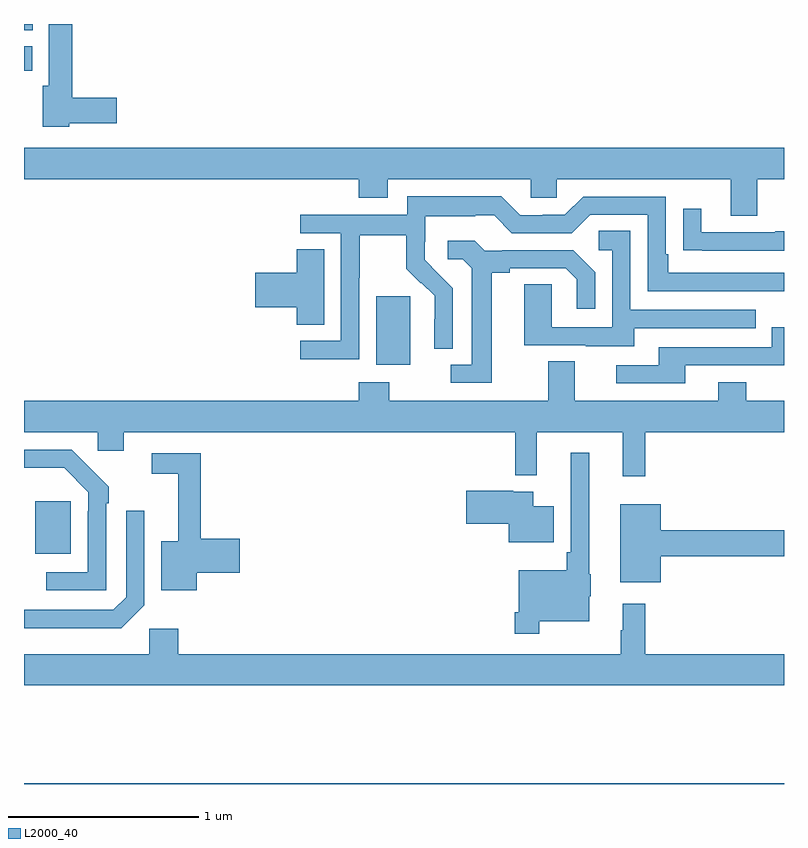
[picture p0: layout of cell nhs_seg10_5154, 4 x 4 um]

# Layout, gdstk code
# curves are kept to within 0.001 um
import gdstk
lib = gdstk.Library(unit=1e-6, precision=1e-09)
def R(c, l, rs):  # rectangles x0, y0, x1, y1
    for r in rs: c.add(gdstk.rectangle(r[:2], r[2:], *l))
def P(c, l, *ps):  # polygons
    for p in ps: c.add(gdstk.Polygon(p, *l))
L2000_40 = (2000, 40)

nhs_seg10_5154 = lib.new_cell('nhs_seg10_5154')
R(nhs_seg10_5154, L2000_40, [(411,1262.5,415,1262.504), (411.059,1263.713,411.247,1263.988), (412.853,1264.706,413.032,1265.067), (411,1266.254,411.043,1266.382), (411,1266.468,411.046,1266.5)])
P(nhs_seg10_5154, L2000_40, [(411.237,1265.978),(411.487,1265.978),(411.487,1266.113),(411.254,1266.113),(411.254,1266.5),(411.131,1266.5),(411.131,1266.174),(411.098,1266.174),(411.098,1265.96),(411.237,1265.96)],
  [(411,1265.684),(412.763,1265.684),(412.763,1265.585),(412.915,1265.585),(412.915,1265.684),(413.667,1265.684),(413.667,1265.586),(413.805,1265.586),(413.805,1265.684),(414.719,1265.684),(414.719,1265.49),(414.859,1265.49),(414.859,1265.684),(415,1265.684),(415,1265.848),(411,1265.848)],
  [(412.764,1265.164),(412.767,1265.164),(412.767,1265.388),(413.011,1265.388),(413.011,1265.213),(413.088,1265.136),(413.091,1265.139),(413.162,1265.069),(413.162,1264.946),(413.16,1264.946),(413.16,1264.792),(413.256,1264.792),(413.256,1265.11),(413.11,1265.258),(413.11,1265.355),(413.112,1265.355),(413.112,1265.489),(413.375,1265.489),(413.375,1265.493),(413.475,1265.493),(413.568,1265.4),(413.883,1265.4),(413.979,1265.496),(414.282,1265.496),(414.282,1265.094),(415,1265.094),(415,1265.19),(414.391,1265.19),(414.391,1265.287),(414.378,1265.287),(414.378,1265.592),(413.943,1265.592),(413.847,1265.496),(413.729,1265.496),(413.729,1265.493),(413.613,1265.493),(413.513,1265.593),(413.016,1265.593),(413.016,1265.496),(412.455,1265.496),(412.455,1265.4),(412.668,1265.4),(412.668,1264.833),(412.455,1264.833),(412.455,1264.735),(412.764,1264.735)],
  [(415,1265.408),(414.955,1265.408),(414.955,1265.403),(414.565,1265.403),(414.565,1265.527),(414.469,1265.527),(414.469,1265.308),(414.571,1265.308),(414.571,1265.307),(415,1265.307)],
  [(414.211,1264.899),(414.851,1264.899),(414.851,1264.995),(414.192,1264.995),(414.192,1265.411),(414.024,1265.411),(414.024,1265.31),(414.096,1265.31),(414.096,1264.905),(413.778,1264.905),(413.778,1265.129),(413.633,1265.129),(413.633,1264.809),(413.957,1264.809),(413.957,1264.805),(414.211,1264.805)],
  [(413.461,1265.192),(413.557,1265.192),(413.557,1265.214),(413.852,1265.214),(413.909,1265.157),(413.909,1265.001),(414.006,1265.001),(414.006,1265.194),(413.89,1265.31),(413.518,1265.31),(413.518,1265.307),(413.424,1265.307),(413.372,1265.359),(413.229,1265.359),(413.229,1265.262),(413.31,1265.262),(413.357,1265.215),(413.357,1264.707),(413.247,1264.707),(413.247,1264.611),(413.461,1264.611)],
  [(412.579,1265.315),(412.436,1265.315),(412.436,1265.192),(412.218,1265.192),(412.218,1265.009),(412.436,1265.009),(412.436,1264.918),(412.579,1264.918)],
  [(414.481,1264.704),(415,1264.704),(415,1264.903),(414.936,1264.903),(414.936,1264.8),(414.341,1264.8),(414.341,1264.704),(414.117,1264.704),(414.117,1264.608),(414.481,1264.608)],
  [(414.269,1264.352),(415,1264.352),(415,1264.516),(414.801,1264.516),(414.801,1264.615),(414.653,1264.615),(414.653,1264.516),(413.899,1264.516),(413.899,1264.724),(413.759,1264.724),(413.759,1264.516),(412.923,1264.516),(412.923,1264.615),(412.763,1264.615),(412.763,1264.516),(411,1264.516),(411,1264.352),(411.387,1264.352),(411.387,1264.254),(411.526,1264.254),(411.526,1264.352),(413.586,1264.352),(413.586,1264.124),(413.699,1264.124),(413.699,1264.352),(414.152,1264.352),(414.152,1264.119),(414.269,1264.119)],
  [(411.432,1263.977),(411.447,1263.977),(411.447,1264.065),(411.25,1264.26),(411,1264.26),(411,1264.164),(411.211,1264.164),(411.339,1264.035),(411.339,1263.935),(411.336,1263.935),(411.336,1263.615),(411.117,1263.615),(411.117,1263.519),(411.432,1263.519)],
  [(413.713,1263.356),(413.974,1263.356),(413.974,1263.489),(413.983,1263.489),(413.983,1263.603),(413.974,1263.603),(413.974,1264.243),(413.877,1264.243),(413.877,1263.721),(413.857,1263.721),(413.857,1263.625),(413.604,1263.625),(413.604,1263.403),(413.584,1263.403),(413.584,1263.291),(413.713,1263.291)],
  [(411.91,1263.613),(412.135,1263.613),(412.135,1263.791),(411.929,1263.791),(411.929,1264.242),(411.672,1264.242),(411.672,1264.134),(411.812,1264.134),(411.812,1263.778),(411.722,1263.778),(411.722,1263.521),(411.91,1263.521)],
  [(413.788,1263.961),(413.68,1263.961),(413.68,1264.039),(413.576,1264.039),(413.576,1264.044),(413.328,1264.044),(413.328,1263.869),(413.552,1263.869),(413.552,1263.773),(413.788,1263.773)],
  [(414.352,1263.7),(415,1263.7),(415,1263.836),(414.352,1263.836),(414.352,1263.973),(414.137,1263.973),(414.137,1263.563),(414.352,1263.563)],
  [(411.633,1263.441),(411.633,1263.937),(411.537,1263.937),(411.537,1263.483),(411.471,1263.417),(411,1263.417),(411,1263.32),(411.512,1263.32)],
  [(415,1263.184),(414.269,1263.184),(414.269,1263.448),(414.152,1263.448),(414.152,1263.308),(414.141,1263.308),(414.141,1263.184),(411.812,1263.184),(411.812,1263.316),(411.66,1263.316),(411.66,1263.184),(411,1263.184),(411,1263.02),(415,1263.02)])

lib.write_gds('nhs_seg10_5154.gds')
